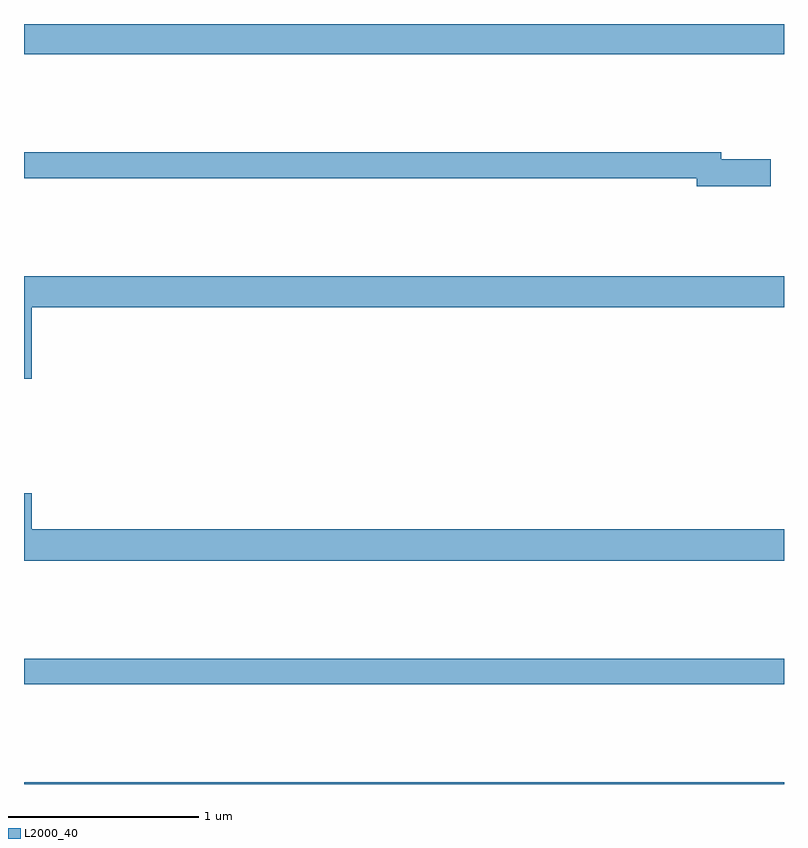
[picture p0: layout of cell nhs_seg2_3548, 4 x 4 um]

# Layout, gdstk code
import gdstk
lib = gdstk.Library(unit=1e-6, precision=1e-09)
def R(c, l, rs):  # rectangles x0, y0, x1, y1
    for r in rs: c.add(gdstk.rectangle(r[:2], r[2:], *l))
def P(c, l, *ps):  # polygons
    for p in ps: c.add(gdstk.Polygon(p, *l))
L2000_40 = (2000, 40)

nhs_seg2_3548 = lib.new_cell('nhs_seg2_3548')
R(nhs_seg2_3548, L2000_40, [(297,639.8,301,639.808), (297,640.324,301,640.46), (297,643.64,301,643.8)])
P(nhs_seg2_3548, L2000_40, [(300.931,643.088),(300.67,643.088),(300.67,643.124),(297,643.124),(297,642.988),(300.542,642.988),(300.542,642.946),(300.931,642.946)],
  [(297.04,642.308),(301,642.308),(301,642.472),(297,642.472),(297,641.934),(297.04,641.934)],
  [(301,641.14),(297.04,641.14),(297.04,641.329),(297,641.329),(297,640.976),(301,640.976)])

lib.write_gds('nhs_seg2_3548.gds')
